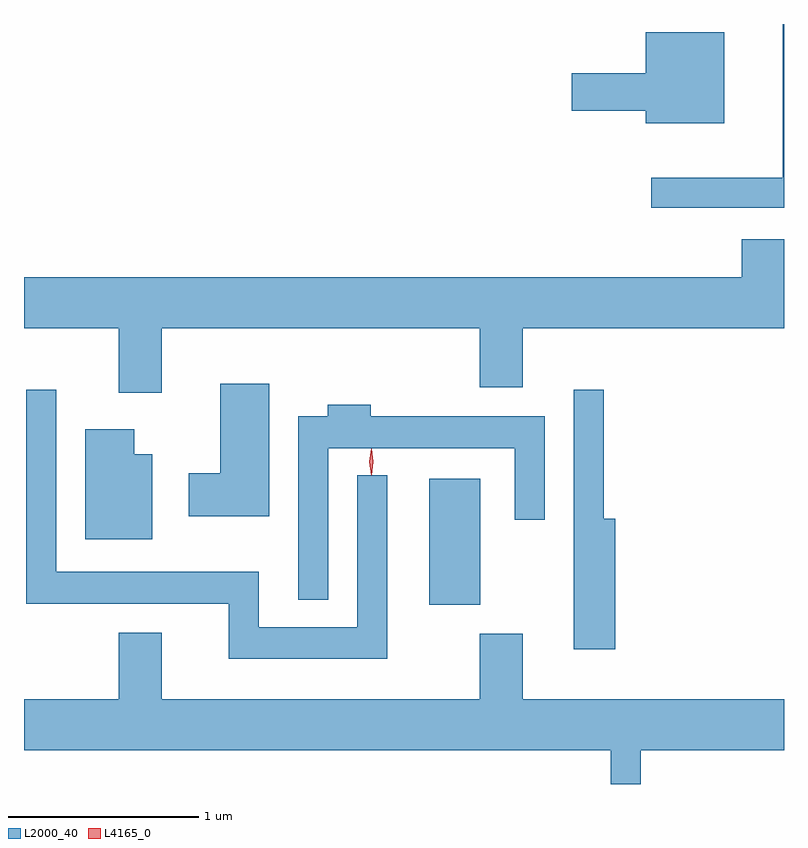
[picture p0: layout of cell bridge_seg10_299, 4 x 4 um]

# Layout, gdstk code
import gdstk
lib = gdstk.Library(unit=1e-6, precision=1e-09)
def R(c, l, rs):  # rectangles x0, y0, x1, y1
    for r in rs: c.add(gdstk.rectangle(r[:2], r[2:], *l))
def P(c, l, *ps):  # polygons
    for p in ps: c.add(gdstk.Polygon(p, *l))
L2000_40 = (2000, 40)
L4165_0 = (4165, 0)

bridge_seg10_299 = lib.new_cell('bridge_seg10_299')
R(bridge_seg10_299, L2000_40, [(1387.416,2167.961,1387.684,2168.624)])
P(bridge_seg10_299, L2000_40, [(1389.283,2171.018),(1389.276,2171.018),(1389.276,2170.209),(1388.583,2170.209),(1388.583,2170.051),(1389.283,2170.051)],
  [(1388.969,2170.974),(1388.556,2170.974),(1388.556,2170.759),(1388.166,2170.759),(1388.166,2170.561),(1388.556,2170.561),(1388.556,2170.496),(1388.969,2170.496)],
  [(1386.009,2169.416),(1387.681,2169.416),(1387.681,2169.106),(1387.909,2169.106),(1387.909,2169.416),(1389.283,2169.416),(1389.283,2169.884),(1389.061,2169.884),(1389.061,2169.684),(1385.283,2169.684),(1385.283,2169.416),(1385.781,2169.416),(1385.781,2169.076),(1386.009,2169.076)],
  [(1386.574,2169.124),(1386.316,2169.124),(1386.316,2168.654),(1386.151,2168.654),(1386.151,2168.426),(1386.574,2168.426)],
  [(1387.194,2168.643),(1387.036,2168.643),(1387.036,2167.844),(1386.519,2167.844),(1386.519,2168.134),(1385.454,2168.134),(1385.454,2169.093),(1385.296,2169.093),(1385.296,2167.966),(1386.361,2167.966),(1386.361,2167.676),(1387.194,2167.676)],
  [(1388.394,2168.414),(1388.334,2168.414),(1388.334,2169.093),(1388.176,2169.093),(1388.176,2167.726),(1388.394,2167.726)],
  [(1386.884,2168.786),(1387.866,2168.786),(1387.866,2168.408),(1388.024,2168.408),(1388.024,2168.954),(1387.109,2168.954),(1387.109,2169.014),(1386.881,2169.014),(1386.881,2168.954),(1386.726,2168.954),(1386.726,2167.988),(1386.884,2167.988)],
  [(1385.959,2168.754),(1385.864,2168.754),(1385.864,2168.884),(1385.606,2168.884),(1385.606,2168.306),(1385.959,2168.306)],
  [(1388.529,2167.196),(1389.283,2167.196),(1389.283,2167.464),(1387.909,2167.464),(1387.909,2167.809),(1387.681,2167.809),(1387.681,2167.464),(1386.009,2167.464),(1386.009,2167.814),(1385.781,2167.814),(1385.781,2167.464),(1385.283,2167.464),(1385.283,2167.196),(1388.371,2167.196),(1388.371,2167.018),(1388.529,2167.018)])
P(bridge_seg10_299, L4165_0, [(1387.111,2168.644),(1387.101,2168.713),(1387.111,2168.782),(1387.111,2168.783),(1387.112,2168.782),(1387.121,2168.713),(1387.112,2168.644),(1387.112,2168.644)])

lib.write_gds('bridge_seg10_299.gds')
